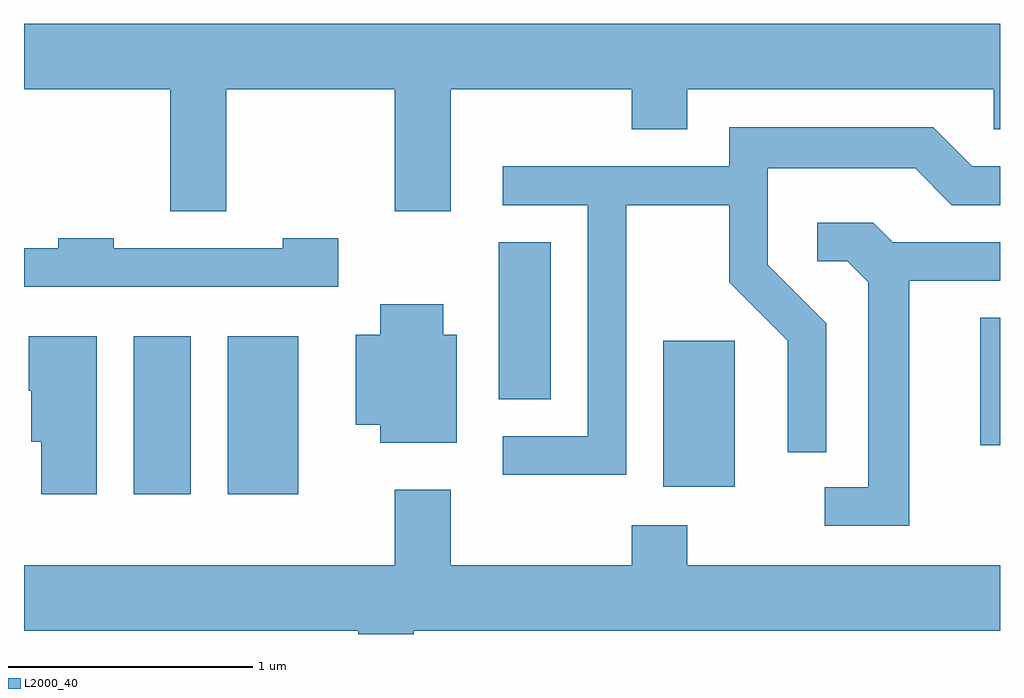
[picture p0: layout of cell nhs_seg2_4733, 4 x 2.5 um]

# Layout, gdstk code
import gdstk
lib = gdstk.Library(unit=1e-6, precision=1e-09)
def R(c, l, rs):  # rectangles x0, y0, x1, y1
    for r in rs: c.add(gdstk.rectangle(r[:2], r[2:], *l))
def P(c, l, *ps):  # polygons
    for p in ps: c.add(gdstk.Polygon(p, *l))
L2000_40 = (2000, 40)

nhs_seg2_4733 = lib.new_cell('nhs_seg2_4733')
R(nhs_seg2_4733, L2000_40, [(324.061,1104.376,324.294,1105.024), (324.446,1104.376,324.734,1105.024), (326.231,1104.406,326.524,1105.004), (327.531,1104.576,327.611,1105.099), (325.556,1104.766,325.769,1105.409)])
P(nhs_seg2_4733, L2000_40, [(324.439,1106.036),(325.131,1106.036),(325.131,1105.536),(325.359,1105.536),(325.359,1106.036),(326.101,1106.036),(326.101,1105.871),(326.329,1105.871),(326.329,1106.036),(327.586,1106.036),(327.586,1105.871),(327.611,1105.871),(327.611,1106.304),(323.611,1106.304),(323.611,1106.036),(324.211,1106.036),(324.211,1105.536),(324.439,1105.536)],
  [(326.079,1105.561),(326.501,1105.561),(326.501,1105.244),(326.741,1105.004),(326.741,1104.548),(326.899,1104.548),(326.899,1105.077),(326.659,1105.317),(326.659,1105.711),(327.264,1105.711),(327.414,1105.561),(327.611,1105.561),(327.611,1105.719),(327.497,1105.719),(327.337,1105.879),(326.501,1105.879),(326.501,1105.719),(325.573,1105.719),(325.573,1105.561),(325.921,1105.561),(325.921,1104.614),(325.573,1104.614),(325.573,1104.456),(326.079,1104.456)],
  [(327.239,1105.251),(327.611,1105.251),(327.611,1105.409),(327.172,1105.409),(327.092,1105.489),(326.863,1105.489),(326.863,1105.331),(326.984,1105.331),(327.071,1105.244),(327.071,1104.404),(326.893,1104.404),(326.893,1104.246),(327.239,1104.246)],
  [(324.899,1105.424),(324.671,1105.424),(324.671,1105.384),(323.979,1105.384),(323.979,1105.424),(323.751,1105.424),(323.751,1105.384),(323.611,1105.384),(323.611,1105.226),(324.899,1105.226)],
  [(325.384,1105.029),(325.329,1105.029),(325.329,1105.154),(325.071,1105.154),(325.071,1105.029),(324.971,1105.029),(324.971,1104.661),(325.071,1104.661),(325.071,1104.586),(325.384,1104.586)],
  [(323.909,1105.024),(323.631,1105.024),(323.631,1104.8),(323.641,1104.8),(323.641,1104.591),(323.681,1104.591),(323.681,1104.376),(323.909,1104.376)],
  [(325.209,1103.816),(327.611,1103.816),(327.611,1104.084),(326.329,1104.084),(326.329,1104.249),(326.101,1104.249),(326.101,1104.084),(325.359,1104.084),(325.359,1104.394),(325.131,1104.394),(325.131,1104.084),(323.611,1104.084),(323.611,1103.816),(324.981,1103.816),(324.981,1103.802),(325.209,1103.802)])

lib.write_gds('nhs_seg2_4733.gds')
